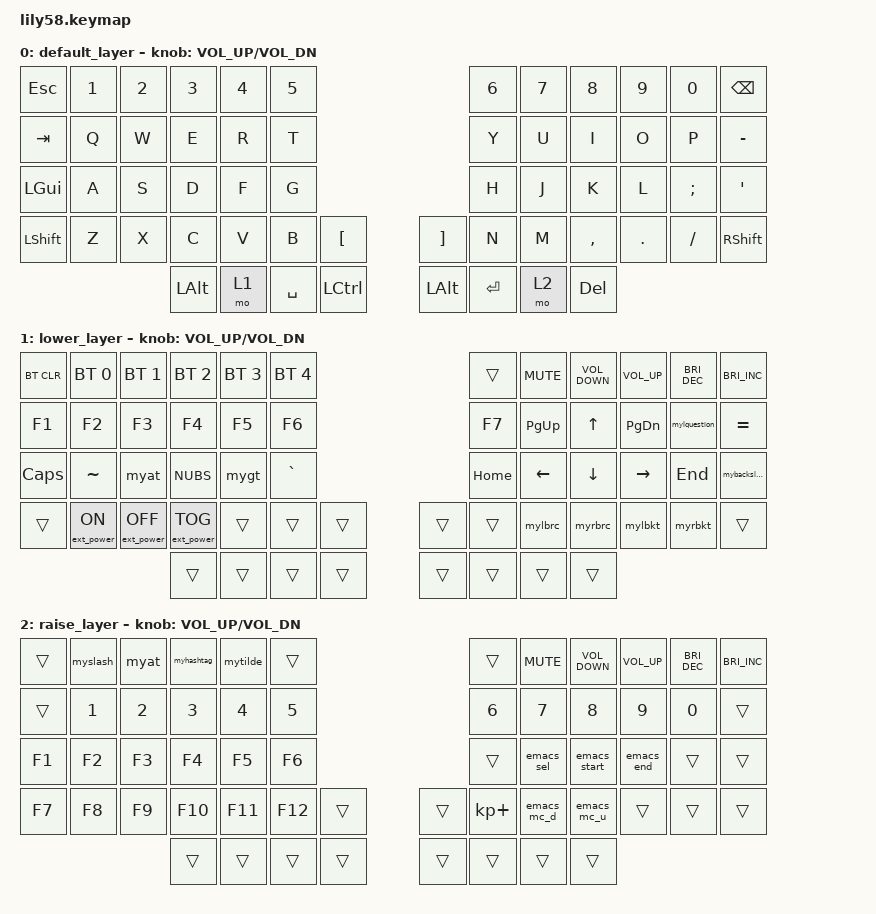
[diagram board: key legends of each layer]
/*
 * Copyright (c) 2020 The ZMK Contributors
 *
 * SPDX-License-Identifier: MIT
 */

#include <behaviors.dtsi>
#include <dt-bindings/zmk/bt.h>
#include <dt-bindings/zmk/ext_power.h>
#include <dt-bindings/zmk/keys.h>

/ {
    macros {
        myat: myat {
            compatible = "zmk,behavior-macro";
            #binding-cells = <0>;
            bindings =
                <&macro_press>,
                <&kp RIGHT_ALT>,
                <&macro_tap>,
                <&kp NUMBER_2>,
                <&macro_release>,
                <&kp RIGHT_ALT>;

            label = "MYAT";
        };

        mylbrc: mylbrc {
            compatible = "zmk,behavior-macro";
            #binding-cells = <0>;
            bindings =
                <&macro_press>,
                <&kp RIGHT_ALT>,
                <&macro_tap>,
                <&kp APOSTROPHE>,
                <&macro_release>,
                <&kp RIGHT_ALT>;

            label = "MYLBRC";
        };

        myrbrc: myrbrc {
            compatible = "zmk,behavior-macro";
            #binding-cells = <0>;
            bindings =
                <&macro_press>,
                <&kp RIGHT_ALT>,
                <&macro_tap>,
                <&kp NON_US_HASH>,
                <&macro_release>,
                <&kp RIGHT_ALT>;

            label = "MYRBRC";
        };

        mylbkt: mylbkt {
            compatible = "zmk,behavior-macro";
            #binding-cells = <0>;
            bindings =
                <&macro_press>,
                <&kp RIGHT_ALT>,
                <&macro_tap>,
                <&kp LBKT>,
                <&macro_release>,
                <&kp RIGHT_ALT>;

            label = "MYLBKT";
        };

        myrbkt: myrbkt {
            compatible = "zmk,behavior-macro";
            #binding-cells = <0>;
            bindings =
                <&macro_press>,
                <&kp RIGHT_ALT>,
                <&macro_tap>,
                <&kp RBKT>,
                <&macro_release>,
                <&kp RIGHT_ALT>;

            label = "MYRBKT";
        };

        mygt: mylt {
            compatible = "zmk,behavior-macro";
            #binding-cells = <0>;
            bindings =
                <&macro_press>,
                <&kp LSHIFT>,
                <&macro_tap>,
                <&kp NUBS>,
                <&macro_release>,
                <&kp LEFT_SHIFT>;

            label = "MYLT";
        };

        mybackslash: mybackslash {
            compatible = "zmk,behavior-macro";
            #binding-cells = <0>;
            bindings =
                <&macro_press>,
                <&kp RIGHT_ALT>,
                <&macro_tap>,
                <&kp GRAVE>,
                <&macro_release>,
                <&kp RIGHT_ALT>;

            label = "MYBACKSLASH";
        };

        myhashtag: myhashtag {
            compatible = "zmk,behavior-macro";
            #binding-cells = <0>;
            bindings =
                <&macro_press>,
                <&kp RIGHT_ALT>,
                <&macro_tap>,
                <&kp NUMBER_3>,
                <&macro_release>,
                <&kp RIGHT_ALT>;

            label = "MYHASHTAG";
        };

        myslash: myslash {
            compatible = "zmk,behavior-macro";
            #binding-cells = <0>;
            bindings =
                <&macro_press>,
                <&kp RIGHT_ALT>,
                <&macro_tap>,
                <&kp NUMBER_1>,
                <&macro_release>,
                <&kp RIGHT_ALT>;

            label = "MYSLASH";
        };

        mylquestion: mylquestion {
            compatible = "zmk,behavior-macro";
            #binding-cells = <0>;
            bindings =
                <&macro_press>,
                <&kp LEFT_SHIFT>,
                <&macro_tap>,
                <&kp EQUAL>,
                <&macro_release>,
                <&kp LEFT_SHIFT>;

            label = "MYLQUESTION";
        };

        emacs_sel: emacs_sel {
            compatible = "zmk,behavior-macro";
            #binding-cells = <0>;
            bindings =
                <&macro_press>,
                <&kp LCTRL>,
                <&macro_tap>,
                <&kp SPACE>,
                <&macro_release>,
                <&kp LCTRL>;

            label = "EMACS_SEL";
        };

        emacs_start: emacs_start {
            compatible = "zmk,behavior-macro";
            #binding-cells = <0>;
            bindings =
                <&macro_press>,
                <&kp LEFT_ALT>,
                <&macro_tap>,
                <&kp NUBS>,
                <&macro_release>,
                <&kp LEFT_ALT>;

            label = "EMACS_START";
        };

        emacs_end: emacs_end {
            compatible = "zmk,behavior-macro";
            #binding-cells = <0>;
            bindings =
                <&macro_press>,
                <&kp LEFT_ALT &kp LEFT_SHIFT>,
                <&macro_tap>,
                <&kp NUBS>,
                <&macro_release>,
                <&kp LEFT_ALT &kp LEFT_SHIFT>;

            label = "EMACS_END";
        };

        mytilde: mytilde {
            compatible = "zmk,behavior-macro";
            #binding-cells = <0>;
            bindings =
                <&macro_press>,
                <&kp RIGHT_ALT>,
                <&macro_tap>,
                <&kp NUMBER_4>,
                <&macro_release>,
                <&kp RIGHT_ALT>;

            label = "MYTILDE";
        };

        emacs_mc_d: emacs_mc_d {
            compatible = "zmk,behavior-macro";
            #binding-cells = <0>;
            bindings =
                <&macro_press>,
                <&kp LEFT_CONTROL &kp LEFT_SHIFT>,
                <&macro_tap>,
                <&kp NUBS>,
                <&macro_release>,
                <&kp LEFT_CONTROL &kp LEFT_SHIFT>;

            label = "EMACS_MC_D";
        };

        emacs_mc_u: emacs_mc_u {
            compatible = "zmk,behavior-macro";
            #binding-cells = <0>;
            bindings =
                <&macro_press>,
                <&kp LEFT_CONTROL>,
                <&macro_tap>,
                <&kp NUBS>,
                <&macro_release>,
                <&kp LEFT_CONTROL>;

            label = "EMACS_MC_U";
        };
    };

    keymap {
        compatible = "zmk,keymap";

        default_layer {
            // ------------------------------------------------------------------------------------------------------------
            // |  ESC  |  1  |  2  |  3   |  4   |  5   |                   |  6   |  7    |  8    |  9   |   0   |   `   |
            // |  TAB  |  Q  |  W  |  E   |  R   |  T   |                   |  Y   |  U    |  I    |  O   |   P   |   -   |
            // |  CTRL |  A  |  S  |  D   |  F   |  G   |                   |  H   |  J    |  K    |  L   |   ;   |   '   |
            // | SHIFT |  Z  |  X  |  C   |  V   |  B   |   "["  |  |  "]"  |  N   |  M    |  ,    |  .   |   /   | SHIFT |
            //                     | ALT  | GUI  | LOWER|  SPACE |  | ENTER | RAISE| BSPC  | GUI   |

            bindings = <
&kp ESC       &kp N1  &kp N2  &kp N3    &kp N4  &kp N5                                       &kp N6     &kp N7  &kp N8      &kp N9   &kp N0    &kp BACKSPACE
&kp TAB       &kp Q   &kp W   &kp E     &kp R   &kp T                                        &kp Y      &kp U   &kp I       &kp O    &kp P     &kp MINUS
&kp LEFT_GUI  &kp A   &kp S   &kp D     &kp F   &kp G                                        &kp H      &kp J   &kp K       &kp L    &kp SEMI  &kp SQT
&kp LSHFT     &kp Z   &kp X   &kp C     &kp V   &kp B      &kp LBKT            &kp RBKT      &kp N      &kp M   &kp COMMA   &kp DOT  &kp FSLH  &kp RSHFT
                              &kp LALT  &mo 1   &kp SPACE  &kp LEFT_CONTROL    &kp LEFT_ALT  &kp ENTER  &mo 2   &kp DELETE
            >;

            sensor-bindings = <&inc_dec_kp C_VOL_UP C_VOL_DN>;
        };

        lower_layer {
            // ------------------------------------------------------------------------------------------------------------
            // | BTCLR | BT1 | BT2 |  BT3 |  BT4 |  BT5 |                   |      |       |       |      |       |       |
            // |  F1   |  F2 |  F3 |  F4  |  F5  |  F6  |                   |  F7  |  F8   |  F9   |  F10 |  F11  |  F12  |
            // |   `   |  !  |  @  |  #   |  $   |  %   |                   |  ^   |  &    |  *    |  (   |   )   |   ~   |
            // |       |     |     |      |      |      |        |  |       |      |  _    |  +    |  {   |   }   |  "|"  |
            //                     |      |      |      |        |  |       |      |       |       |

            bindings = <
&bt BT_CLR    &bt BT_SEL 0      &bt BT_SEL 1       &bt BT_SEL 2       &bt BT_SEL 3  &bt BT_SEL 4                    &trans    &kp K_MUTE      &kp C_VOLUME_DOWN  &kp C_VOLUME_UP  &kp C_BRIGHTNESS_DEC  &kp C_BRIGHTNESS_INC
&kp F1        &kp F2            &kp F3             &kp F4             &kp F5        &kp F6                          &kp F7    &kp PAGE_UP     &kp UP_ARROW       &kp PAGE_DOWN    &mylquestion          &kp EQUAL
&kp CAPSLOCK  &kp TILDE         &myat              &kp NUBS           &mygt         &kp GRAVE                       &kp HOME  &kp LEFT_ARROW  &kp DOWN_ARROW     &kp RIGHT_ARROW  &kp END               &mybackslash
&trans        &ext_power EP_ON  &ext_power EP_OFF  &ext_power EP_TOG  &trans        &trans        &trans    &trans  &trans    &mylbrc         &myrbrc            &mylbkt          &myrbkt               &trans
                                                   &trans             &trans        &trans        &trans    &trans  &trans    &trans          &trans
            >;

            sensor-bindings = <&inc_dec_kp C_VOL_UP C_VOL_DN>;
        };

        raise_layer {
            // ------------------------------------------------------------------------------------------------------------
            // |       |     |     |      |      |      |                   |      |       |       |      |       |       |
            // |   `   |  1  |  2  |  3   |  4   |  5   |                   |  6   |   7   |   8   |  9   |   0   |       |
            // |   F1  |  F2 |  F3 |  F4  |  F5  |  F6  |                   |      |   <-  |   v   |  ^   |  ->   |       |
            // |   F7  |  F8 |  F9 |  F10 |  F11 |  F12 |        |  |       |  +   |   -   |   =   |  [   |   ]   |   \   |
            //                     |      |      |      |        |  |       |      |       |       |

            bindings = <
&trans  &myslash  &myat   &myhashtag  &mytilde  &trans                     &trans       &kp K_MUTE   &kp C_VOLUME_DOWN  &kp C_VOLUME_UP  &kp C_BRIGHTNESS_DEC  &kp C_BRIGHTNESS_INC
&trans  &kp N1    &kp N2  &kp N3      &kp N4    &kp N5                     &kp N6       &kp N7       &kp N8             &kp N9           &kp N0                &trans
&kp F1  &kp F2    &kp F3  &kp F4      &kp F5    &kp F6                     &trans       &emacs_sel   &emacs_start       &emacs_end       &trans                &trans
&kp F7  &kp F8    &kp F9  &kp F10     &kp F11   &kp F12  &trans    &trans  &kp KP_PLUS  &emacs_mc_d  &emacs_mc_u        &trans           &trans                &trans
                          &trans      &trans    &trans   &trans    &trans  &trans       &trans       &trans
            >;

            sensor-bindings = <&inc_dec_kp C_VOL_UP C_VOL_DN>;
        };
    };
};
